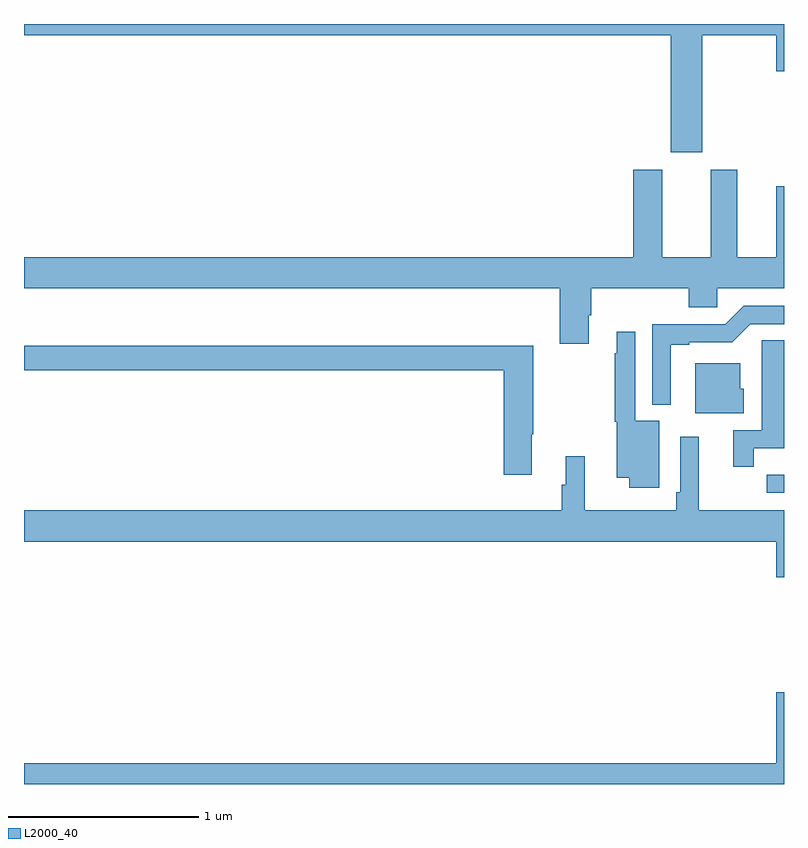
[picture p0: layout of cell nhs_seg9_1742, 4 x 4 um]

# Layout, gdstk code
import gdstk
lib = gdstk.Library(unit=1e-6, precision=1e-09)
def R(c, l, rs):  # rectangles x0, y0, x1, y1
    for r in rs: c.add(gdstk.rectangle(r[:2], r[2:], *l))
def P(c, l, *ps):  # polygons
    for p in ps: c.add(gdstk.Polygon(p, *l))
L2000_40 = (2000, 40)

nhs_seg9_1742 = lib.new_cell('nhs_seg9_1742')
R(nhs_seg9_1742, L2000_40, [(212.91,1174.032,213,1174.128)])
P(nhs_seg9_1742, L2000_40, [(212.569,1176.44),(212.96,1176.44),(212.96,1176.252),(213,1176.252),(213,1176.5),(209,1176.5),(209,1176.44),(212.405,1176.44),(212.405,1175.826),(212.569,1175.826)],
  [(211.972,1174.966),(211.985,1174.966),(211.985,1175.108),(212.498,1175.108),(212.498,1175.01),(212.649,1175.01),(212.649,1175.108),(213,1175.108),(213,1175.647),(212.96,1175.647),(212.96,1175.272),(212.755,1175.272),(212.755,1175.734),(212.615,1175.734),(212.615,1175.272),(212.359,1175.272),(212.359,1175.734),(212.207,1175.734),(212.207,1175.272),(209,1175.272),(209,1175.108),(211.82,1175.108),(211.82,1174.818),(211.972,1174.818)],
  [(212.404,1174.812),(212.5,1174.812),(212.5,1174.824),(212.727,1174.824),(212.823,1174.92),(213,1174.92),(213,1175.016),(212.787,1175.016),(212.691,1174.92),(212.307,1174.92),(212.307,1174.496),(212.404,1174.496)],
  [(212.344,1174.411),(212.217,1174.411),(212.217,1174.879),(212.12,1174.879),(212.12,1174.766),(212.109,1174.766),(212.109,1174.407),(212.12,1174.407),(212.12,1174.112),(212.186,1174.112),(212.186,1174.059),(212.344,1174.059)],
  [(212.84,1174.266),(213,1174.266),(213,1174.835),(212.883,1174.835),(212.883,1174.724),(212.882,1174.724),(212.882,1174.362),(212.732,1174.362),(212.732,1174.17),(212.84,1174.17)],
  [(211.672,1174.34),(211.68,1174.34),(211.68,1174.807),(209,1174.807),(209,1174.678),(211.526,1174.678),(211.526,1174.128),(211.672,1174.128)],
  [(212.788,1174.581),(212.77,1174.581),(212.77,1174.714),(212.534,1174.714),(212.534,1174.451),(212.788,1174.451)],
  [(213,1173.94),(212.552,1173.94),(212.552,1174.327),(212.454,1174.327),(212.454,1174.036),(212.434,1174.036),(212.434,1173.94),(211.95,1173.94),(211.95,1174.225),(211.85,1174.225),(211.85,1174.074),(211.831,1174.074),(211.831,1173.94),(209,1173.94),(209,1173.776),(212.96,1173.776),(212.96,1173.588),(213,1173.588)],
  [(213,1172.983),(212.96,1172.983),(212.96,1172.608),(209,1172.608),(209,1172.5),(213,1172.5)])

lib.write_gds('nhs_seg9_1742.gds')
